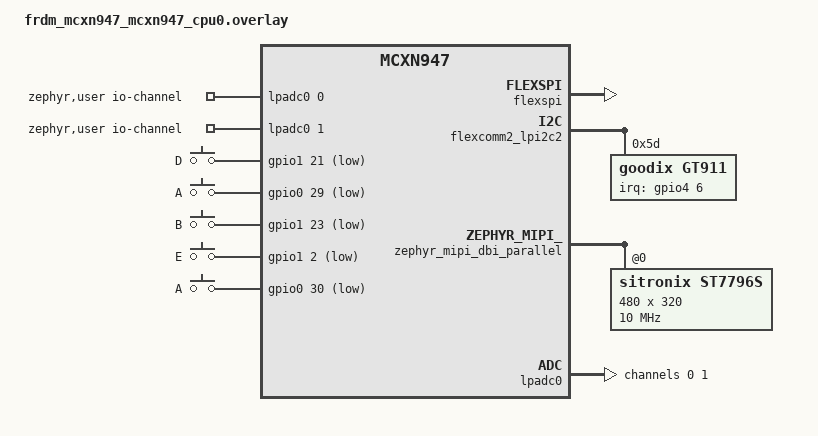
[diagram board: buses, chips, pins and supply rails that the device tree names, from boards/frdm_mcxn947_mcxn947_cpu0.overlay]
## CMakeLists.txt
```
# Copyright 2024 NXP
# SPDX-License-Identifier: Apache-2.0 OR GPL-2.0-or-later

cmake_minimum_required(VERSION 3.20.0)

find_package(Zephyr REQUIRED HINTS $ENV{ZEPHYR_BASE})
project(app LANGUAGES C)

set(PRBOOM_FILES
    prboom2/src/am_map.c
    prboom2/src/d_client.c
    prboom2/src/d_items.c
    prboom2/src/d_main.c
    prboom2/src/doom_iwad.c
    prboom2/src/f_finale.c
    prboom2/src/f_wipe.c
    prboom2/src/g_game.c
    prboom2/src/global_data.c
    prboom2/src/hu_lib.c
    prboom2/src/hu_stuff.c
    prboom2/src/i_audio.c
    prboom2/src/i_main.c
    prboom2/src/info.c
    prboom2/src/i_system.c
    prboom2/src/i_video.c
    prboom2/src/lprintf.c
    prboom2/src/m_bbox.c
    prboom2/src/m_cheat.c
    prboom2/src/m_menu.c
    prboom2/src/m_random.c
    prboom2/src/p_ceilng.c
    prboom2/src/p_doors.c
    prboom2/src/p_enemy.c
    prboom2/src/p_floor.c
    prboom2/src/p_genlin.c
    prboom2/src/p_inter.c
    prboom2/src/p_lights.c
    prboom2/src/p_map.c
    prboom2/src/p_maputl.c
    prboom2/src/p_mobj.c
    prboom2/src/p_plats.c
    prboom2/src/p_pspr.c
    prboom2/src/p_setup.c
    prboom2/src/p_sight.c
    prboom2/src/p_spec.c
    prboom2/src/p_switch.c
    prboom2/src/p_telept.c
    prboom2/src/p_tick.c
    prboom2/src/p_user.c
    prboom2/src/r_data.c
    prboom2/src/r_draw.c
    prboom2/src/r_hotpath.iwram.c
    prboom2/src/r_main.c
    prboom2/src/r_patch.c
    prboom2/src/r_plane.c
    prboom2/src/r_things.c
    prboom2/src/sounds.c
    prboom2/src/s_sound.c
    prboom2/src/st_gfx.c
    prboom2/src/st_lib.c
    prboom2/src/st_stuff.c
    prboom2/src/tables.c
    prboom2/src/version.c
    prboom2/src/v_video.c
    prboom2/src/wi_stuff.c
    prboom2/src/w_wad.c
    prboom2/src/z_bmalloc.c
    prboom2/src/z_zone.c
)

if(CONFIG_DOOM_FIXED_RECIPROCAL_LUT)
list(APPEND PRBOOM_FILES prboom2/src/m_recip.c)
endif()


if(CONFIG_DOOM_SPLASH)
  add_custom_command(
    OUTPUT ${CMAKE_BINARY_DIR}/splash.c
    COMMAND ${PYTHON_EXECUTABLE} ${CMAKE_SOURCE_DIR}/scripts/gen_splash.py
            --width 80 --height ${CONFIG_DOOM_Y_RES}
            --text "${CONFIG_DOOM_SPLASH_TEXT}"
            --out ${CMAKE_BINARY_DIR}/splash.c
    DEPENDS ${CMAKE_SOURCE_DIR}/scripts/gen_splash.py
    COMMENT "Generating splash.c"
  )
  target_sources(app PRIVATE ${CMAKE_BINARY_DIR}/splash.c)
endif()

target_include_directories(app PUBLIC prboom2/src)
target_include_directories(app PUBLIC src)
target_compile_options(app PRIVATE -Wno-error=incompatible-pointer-types)

target_sources(app PRIVATE ${PRBOOM_FILES} src/i_system_zephyr.c)

if(NOT CONFIG_NATIVE_BUILD)
  # The IWAD is not linked into the image: convert it to an Intel hex at the
  # memory mapped external flash address so the normal runner can flash it.
  dt_nodelabel(iwad_node NODELABEL w25q64jvssiq)
  dt_reg_addr(iwad_addr PATH ${iwad_node})
  add_custom_command(
    OUTPUT ${CMAKE_BINARY_DIR}/zephyr/doom1.hex
    COMMAND ${CMAKE_OBJCOPY} -I binary -O ihex --change-addresses ${iwad_addr}
            ${CMAKE_SOURCE_DIR}/wad/doom1.wad ${CMAKE_BINARY_DIR}/zephyr/doom1.hex
    DEPENDS ${CMAKE_SOURCE_DIR}/wad/doom1.wad
    COMMENT "Generating doom1.hex at ${iwad_addr}"
  )
  add_custom_target(doom1_hex ALL DEPENDS ${CMAKE_BINARY_DIR}/zephyr/doom1.hex)
endif()
```

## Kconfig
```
# Copyright 2024 NXP
# SPDX-License-Identifier: Apache-2.0 OR GPL-2.0-or-later

mainmenu "Doom"

menu "Zephyr"

source "Kconfig.zephyr"

endmenu

menu "Doom"

config DOOM_X_RES
	int "Doom X resolution"
	default 320

config DOOM_Y_RES
	int "Doom Y resolution"
	default 240

config DOOM_ZONE_HEAP_SIZE
    int "Heap size (kB)"
	default 256

config DOOM_FIXED_RECIPROCAL_LUT
	bool "Use LUT for FixedReciprocal"
	default y
	help
	  On microarchitectures without a hardware divider such as Cortex-m0
	  calculating the reciprocal is compute intensive. This method uses
	  a lookup table (256kB) to approximate it.

config DOOM_CALC_TAN_TABLE
	bool "Calculate finetangent at startup"
	default n
	help
	  Instead of storing the LUT in flash we calculate the tan table at startup
	  This saves a bit of flash at the cost of ram and startup time

config DOOM_CALC_SIN_TABLE
	bool "Calculate finesine at startup"
	default n
	help
	  Instead of storing the LUT in flash we calculate the sine table at startup
	  This saves a bit of flash at the cost of ram and startup time

config DOOM_CALC_YSLOPE
	bool "Calculate yslope at startup"
	default y
	help
	  Instead of storing the LUT in flash we calculate the sine table at startup
	  This saves a bit of flash at the cost of ram and startup time.
	  Yslope needs to be manually generated for each resolution.

config DOOM_CALC_DISTSCALE
	bool "Calculate distcale at startup"
	default y
	help
	  Instead of storing the LUT in flash we calculate the sine table at startup
	  This saves a bit of flash at the cost of ram and startup time.
	  Distcale needs to be manually generated for each resolution.

config DOOM_CALC_XTOVIEWANGLE
	bool "Calculate xtoviewangle at startup"
	default y
	help
	  Instead of storing the LUT in flash we calculate the sine table at startup
	  This saves a bit of flash at the cost of ram and startup time.
	  Xtoviewangle needs to be manually generated for each resolution.

config DOOM_CALC_VIEWANGLETOX
	bool "Calculate viewangletox at startup"
	default y
	help
	  Instead of storing the LUT in flash we calculate the sine table at startup
	  This saves a bit of flash at the cost of ram and startup time.
	  Viewangletox needs to be manually generated for each resolution.


config DOOM_NO_WIPE
	bool "Disable Screen wipe"
	default n
	help
	  Disables screen wipe effect saves on ram since we don't have to allocate the
	  frontbuffer anymore

config DOOM_PRINT_MEMSTAT
	bool "Print memory statistics to console"
	default n

choice DOOM_PIXEL_FORMAT
	prompt "Color pixel format"
	default DOOM_BGR565
	help
	  Specify the color pixel format for the DOOM output frame.

config DOOM_RGB888
	bool "RGB888"

config DOOM_RGB565
	bool "RGB565"

config DOOM_BGR565
	bool "BGR565"
endchoice

config DOOM_HIGHDETAIL
	bool "High detail mode"
	default n

config DOOM_FPS_AMMO
	bool "Use ammo counter as FPS counter"
	default n

config DOOM_ZEPHYR_BACKGROUND
	bool "Show Zephyr logo when hud extends 240 pixels"
	default n

config DOOM_SPLASH
	bool "Show a splash background at startup"
	default n
	help
	  Fills the display before the game starts with a starburst background
	  and the text from DOOM_SPLASH_TEXT.

config DOOM_SPLASH_TEXT
	string "Splash text"
	default "NXP"
	depends on DOOM_SPLASH

config DOOM_ZEPHYR_ADC_JOYSTICK
	bool "Use ADC for joystick input"
	select ADC
	default n

config DOOM_ZEPHYR_TOUCH_SCREEN
	bool "Use Touch screen for input"
	default n

if DOOM_ZEPHYR_TOUCH_SCREEN

# Touchscreen can use different coordinate systems
# Ideally this should be corrected in the touchscreen driver or input subsys

config DOOM_ZEPHYR_TOUCH_SCREEN_SWAP_XY
	bool "Touchscreen swap x/y coordinates"
	default n

config DOOM_ZEPHYR_TOUCH_SCREEN_INVERT_X
	bool "Touchscreen invert X coordinates"
	default n
endif
	  
config DOOM_FB_DTCM
	bool "Place Framebuffer in DTCM memory"
	depends on ARM


endmenu
```

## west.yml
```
# Copyright 2024 NXP
# SPDX-License-Identifier: Apache-2.0 OR GPL-2.0-or-later

manifest:

  group-filter:
    - +optional

  remotes:
    - name: zephyrproject-rtos
      url-base: https://github.com/zephyrproject-rtos

  projects:
    - name: zephyr
      remote: zephyrproject-rtos
      revision: 05aa0414f2b04b64f06da5ab38ed85fff6e8976a # zephyr v4.4++
      import:
        - name-allowlist:
          - hal_nxp
          - cmsis
          - cmsis_6
          - segger
```

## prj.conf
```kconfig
# Copyright 2024 NXP
# SPDX-License-Identifier: Apache-2.0 OR GPL-2.0-or-later

CONFIG_HEAP_MEM_POOL_SIZE=262144
CONFIG_DISPLAY=y
CONFIG_INPUT=y
CONFIG_GPIO=y
CONFIG_STDOUT_CONSOLE=y
CONFIG_SPEED_OPTIMIZATIONS=y
CONFIG_BUILD_OUTPUT_BIN=n
CONFIG_BUILD_NO_GAP_FILL=y
```

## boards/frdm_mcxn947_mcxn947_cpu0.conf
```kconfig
# Copyright 2024 NXP
# SPDX-License-Identifier: Apache-2.0 OR GPL-2.0-or-later

CONFIG_POSIX_API=y
CONFIG_PICOLIBC=y
CONFIG_COMMON_LIBC_MALLOC=y

CONFIG_HEAP_MEM_POOL_SIZE=1024
CONFIG_MAIN_STACK_SIZE=8192
CONFIG_DOOM_FIXED_RECIPROCAL_LUT=n
CONFIG_DOOM_ZONE_HEAP_SIZE=194
CONFIG_DOOM_NO_WIPE=y

CONFIG_DOOM_X_RES=400
CONFIG_DOOM_Y_RES=320
CONFIG_DEBUG_OPTIMIZATIONS=y
CONFIG_DOOM_BGR565=y

CONFIG_DOOM_ZEPHYR_ADC_JOYSTICK=y
CONFIG_DOOM_ZEPHYR_TOUCH_SCREEN=y
CONFIG_DOOM_ZEPHYR_BACKGROUND=y
CONFIG_DOOM_SPLASH=y

CONFIG_FLASH=y

CONFIG_DISPLAY=y

CONFIG_FPU=y

CONFIG_BUILD_OUTPUT_HEX=y
```

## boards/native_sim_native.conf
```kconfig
# Copyright 2024 NXP
# SPDX-License-Identifier: Apache-2.0 OR GPL-2.0-or-later

CONFIG_DOOM_X_RES=640
CONFIG_DOOM_Y_RES=360
CONFIG_DOOM_ZONE_HEAP_SIZE=4096
# CONFIG_DOOM_FIXED_RECIPROCAL_LUT is not set
CONFIG_DOOM_CALC_TAN_TABLE=y
CONFIG_DOOM_CALC_SIN_TABLE=y
# CONFIG_DOOM_NO_WIPE is not set
CONFIG_LOG=y
CONFIG_DOOM_PRINT_MEMSTAT=y
# CONFIG_DOOM_RGB888 is not set
CONFIG_DOOM_RGB565=y
# CONFIG_DOOM_BGR565 is not set
# CONFIG_DOOM_HIGHDETAIL is not set
# CONFIG_DOOM_FPS_AMMO is not set
CONFIG_DOOM_ZEPHYR_BACKGROUND=y
# CONFIG_DOOM_ZEPHYR_ADC_JOYSTICK is not set
CONFIG_DOOM_ZEPHYR_TOUCH_SCREEN=y
CONFIG_DOOM_ZEPHYR_TOUCH_SCREEN_SWAP_XY=y
CONFIG_DOOM_ZEPHYR_TOUCH_SCREEN_INVERT_X=y
CONFIG_SDL_DISPLAY_USE_HARDWARE_ACCELERATOR=n
CONFIG_SDL_DISPLAY_ZOOM_PCT=200
CONFIG_DEBUG_OPTIMIZATIONS=y
```

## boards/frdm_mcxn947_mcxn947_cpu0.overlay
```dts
/*
 * Copyright 2024 NXP
 *
 * SPDX-License-Identifier: Apache-2.0 OR GPL-2.0-or-later
 */
 
#include <nxp/mcx/MCXN947VDF-pinctrl.h>
#include <dt-bindings/gpio/gpio.h>
#include <zephyr/dt-bindings/input/input-event-codes.h>
#include <zephyr/dt-bindings/adc/adc.h>
#include <zephyr/dt-bindings/adc/mcux-lpadc.h>
#include <zephyr/dt-bindings/mipi_dbi/mipi_dbi.h>

/ {

	chosen {
		zephyr,display = &st7796s;
	};

	aliases {
		enter = &key_space;
		map = &key_map;
		menu = &key_menu;
		fire = &key_fire;
		toggle = &key_toggle;
		touch-screen = &gt911;
	};
	
	zephyr,user {
		/* adjust channel number according to pinmux in board.dts */
		io-channels = <&lpadc0 0>, <&lpadc0 1>;
	};
	/* gpio0 28 is joystick click */



	adc_joystick: analog_axis {
		compatible = "analog-axis";
        poll-period-ms = <15>;
		axis-x {
			io-channels = <&lpadc0 0>;
			in-deadzone = <256>;
			in-min = <0>;
			in-max = <4096>;
			out-min = <(-1)>;
			out-max = <1>;
			zephyr,axis = <INPUT_ABS_X>;
		};
		axis-y {
			io-channels = <&lpadc0 1>;
			in-deadzone = <256>;
			in-min = <0>;
			in-max = <4096>;
			out-min = <(-1)>;
			out-max = <1>;
			zephyr,axis = <INPUT_ABS_Y>;
		};
	};

	gpio_keys {
		compatible = "gpio-keys";

		key_fire: key_fire {
			label = "D";
			gpios = <&gpio1 21 (GPIO_PULL_UP | GPIO_ACTIVE_LOW)>; /* PTE0 */
			zephyr,code = <INPUT_KEY_TAB>;
		};
		
		key_menu: key_menu {
			label = "A";
			gpios = <&gpio0 29 (GPIO_PULL_UP | GPIO_ACTIVE_LOW)>; /* p0_29 */
			zephyr,code = <INPUT_KEY_TAB>;
		};

		
		key_toggle: key_toggle {
			label = "B";
			gpios = <&gpio1 23 (GPIO_PULL_UP | GPIO_ACTIVE_LOW)>; /* PTE22 */
			zephyr,code = <INPUT_KEY_LEFTALT>;
		};
		
		key_map: key_map {
			label = "E";
			gpios = <&gpio1 2 (GPIO_PULL_UP | GPIO_ACTIVE_LOW)>; /* 1_2 */
			zephyr,code = <INPUT_KEY_LEFTALT>;
		};
		
		key_space: key_space {
			label = "A";
			gpios = <&gpio0 30 (GPIO_PULL_UP | GPIO_ACTIVE_LOW)>; /* 1_21 -> C funduino */
			zephyr,code = <INPUT_KEY_SPACE>;
		};
	};

};

&flexspi {
	status = "okay";
};

&flexcomm2_lpi2c2 {
	status = "okay";
	gt911: gt911@5d {
		compatible = "goodix,gt911";
		reg = <0x5d>;
		alt-addr = <0x14>;
		irq-gpios = <&gpio4 6 GPIO_ACTIVE_HIGH>;
	};
};

&zephyr_mipi_dbi_parallel {
	status = "okay";
	#address-cells = <1>;
	#size-cells = <0>;
	st7796s: st7796s@0 {
		compatible = "sitronix,st7796s";
		reg = <0>;
		/* Baud rate on each pin is 1MHz */
		mipi-max-frequency = <10000000>;
		mipi-mode = "MIPI_DBI_MODE_8080_BUS_16_BIT";
		height = <320>;
		width = <480>;
		invert-mode = "1-dot";
		frmctl1 = [80 10];
		bpc = [1f 50 00 20];
		dfc = [8a 07 3b];
		pwr1 = [80 64];
		pwr2 = <0x13>;
		pwr3 = <0xa7>;
		vcmpctl = <0x09>;
		doca = [40 8a 00 00 29 19 a5 33];
		pgc = [f0 06 0b 07 06 05 2e 33 47 3a 17 16 2e 31];
		ngc = [f0 09 0d 09 08 23 2e 33 46 38 13 13 2c 32];
		madctl = <0x28>;
		color-invert;
	};
};

&sram0 {
 	compatible = "mmio-sram";
	reg = <0x20000000 DT_SIZE_K(416)>;
};


&lpadc0 {
	#address-cells = <1>;
	#size-cells = <0>;

	voltage-ref= <2>;

	/*
	 * - Connect LPADC0 CH1A signal to voltage between 0~3.3V (J8 pin 14)
	 * - Connect LPADC0 CH1B signal to voltage between 0~3.3V (J8 pin 24)
	 */

	channel@0 {
		reg = <0>;
		zephyr,gain = "ADC_GAIN_1";
		zephyr,reference = "ADC_REF_EXTERNAL0";
		zephyr,vref-mv = <3300>;
		zephyr,acquisition-time = <ADC_ACQ_TIME_DEFAULT>;
		zephyr,resolution = <12>;
		zephyr,input-positive = <MCUX_LPADC_CH0A>;
	};

	channel@1 {
		reg = <1>;
		zephyr,gain = "ADC_GAIN_1";
		zephyr,reference = "ADC_REF_EXTERNAL0";
		zephyr,vref-mv = <3300>;
		zephyr,acquisition-time = <ADC_ACQ_TIME_DEFAULT>;
		zephyr,resolution = <12>;
		zephyr,input-positive = <MCUX_LPADC_CH0B>;
	};
};
```

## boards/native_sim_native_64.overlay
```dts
/*
 * Copyright 2024 NXP
 *
 * SPDX-License-Identifier: Apache-2.0 OR GPL-2.0-or-later
 */

 #include <zephyr/dt-bindings/input/input-event-codes.h>

 / {
	aliases {
		right = &key_right;
		left = &key_left;
		down = &key_down;
		up = &key_up;
		fire = &key_ctrl;
		enter = &key_space;
		strafe = &key_alt;
		run = &key_shift;
		menu = &key_esc;
		weapontoggle = &key_tab;
		touch-screen = &input_sdl_touch;
	};

  gpio_keys {
	compatible = "gpio-keys";
	key_right: key_right {
	  gpios = <&gpio0 0 GPIO_ACTIVE_HIGH>;
	  zephyr,code = <INPUT_KEY_RIGHT>;
	};
	key_left: key_left {
	  gpios = <&gpio0 1 GPIO_ACTIVE_HIGH>;
	  zephyr,code = <INPUT_KEY_LEFT>;
	};
	key_down: key_down {
	  gpios = <&gpio0 2 GPIO_ACTIVE_HIGH>;
	  zephyr,code = <INPUT_KEY_DOWN>;
	};
	key_up: key_up {
	  gpios = <&gpio0 3 GPIO_ACTIVE_HIGH>;
	  zephyr,code = <INPUT_KEY_UP>;
	};
	key_ctrl: key_ctrl {
	  gpios = <&gpio0 4 GPIO_ACTIVE_HIGH>;
	  zephyr,code = <INPUT_KEY_LEFTCTRL>;
	};
	key_space: key_space {
	  gpios = <&gpio0 5 GPIO_ACTIVE_HIGH>;
	  zephyr,code = <INPUT_KEY_SPACE>;
	};
	key_alt: key_alt {
	  gpios = <&gpio0 6 GPIO_ACTIVE_HIGH>;
	  zephyr,code = <INPUT_KEY_LEFTALT>;
	};
	key_shift: key_shift {
	  gpios = <&gpio0 7 GPIO_ACTIVE_HIGH>;
	  zephyr,code = <INPUT_KEY_LEFTSHIFT>;
	};
	key_esc: key_esc {
	  gpios = <&gpio0 8 GPIO_ACTIVE_HIGH>;
	  zephyr,code = <INPUT_KEY_ESC>;
	};
	key_tab: key_tab {
	  gpios = <&gpio0 9 GPIO_ACTIVE_HIGH>;
	  zephyr,code = <INPUT_KEY_TAB>;
	};
  };
  
  };

/* gpio0 has to be a zephyr,gpio-emul device */
&gpio0 {
	ngpios = <10>;

	sdl_gpio {
		compatible = "zephyr,gpio-emul-sdl";
		scancodes = <79 80 81 82 224 44 226 225 41 43>;
	};
};

&sdl_dc {
	width = <640>;
	height = <360>;
};
```

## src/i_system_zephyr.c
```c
/* Emacs style mode select   -*- C++ -*-
 *-----------------------------------------------------------------------------
 *
 *  Copyright 2024 NXP
 *
 *  SPDX-License-Identifier: Apache-2.0 OR GPL-2.0-or-later
 *
 *-----------------------------------------------------------------------------
 */

#include <math.h>
#include <stdarg.h>
#include <stdio.h>
#include <string.h>

#ifndef M_PI
#define M_PI 3.14159265358979323846
#endif

#include "d_event.h"
#include "d_main.h"
#include "g_game.h"
#include "i_system_zephyr.h"
#include "doom_iwad.h"

#include "doomdef.h"
#include "lprintf.h"

#include <zephyr/logging/log.h>
LOG_MODULE_REGISTER(sample, LOG_LEVEL_INF);
#include <zephyr/device.h>
#include <zephyr/devicetree.h>
#include <zephyr/drivers/adc.h>
#include <zephyr/drivers/display.h>
#include <zephyr/drivers/gpio.h>
#include <zephyr/input/input.h>
#include <zephyr/kernel.h>

#ifdef CONFIG_DOOM_SPLASH
extern const unsigned short doom_splash[];
extern const unsigned int doom_splash_width, doom_splash_height;
#endif

#define RIGHT_NODE DT_ALIAS(right)
#define LEFT_NODE DT_ALIAS(left)
#define DOWN_NODE DT_ALIAS(down)
#define UP_NODE DT_ALIAS(up)
#define FIRE_NODE DT_ALIAS(fire)
#define ENTER_NODE DT_ALIAS(enter)
#define MENU_NODE DT_ALIAS(menu)
#define WEAPONTOGGLE_NODE DT_ALIAS(weapontoggle)
#define STRAFE_NODE DT_ALIAS(strafe)
#define RUN_NODE DT_ALIAS(run)
#define MAP_NODE DT_ALIAS(map)
#define TOGGLE_NODE DT_ALIAS(toggle)

#define DISPLAY_NODE DT_CHOSEN(zephyr_display)

#define STACKSIZE 2000
struct k_thread display_thread;
K_THREAD_STACK_DEFINE(display_stack, STACKSIZE);
struct display_capabilities d_capabilities;
struct k_sem sem_display;
struct k_sem sem_renderer;

//**************************************************************************************

struct key_mapping {
  struct gpio_dt_spec node;
  const int *key;
  evtype_t eventstate;
};

struct key_mapping keymap[] = {
#ifndef CONFIG_DOOM_ZEPHYR_ADC_JOYSTICK
    {GPIO_DT_SPEC_GET_OR(UP_NODE, gpios, {0}), &key_up, ev_keyup},
    {GPIO_DT_SPEC_GET_OR(DOWN_NODE, gpios, {0}), &key_down, ev_keyup},
    {GPIO_DT_SPEC_GET_OR(LEFT_NODE, gpios, {0}), &key_left, ev_keyup},
    {GPIO_DT_SPEC_GET_OR(RIGHT_NODE, gpios, {0}), &key_right, ev_keyup},
#endif
    {GPIO_DT_SPEC_GET_OR(FIRE_NODE, gpios, {0}), &key_fire, ev_keyup},
    {GPIO_DT_SPEC_GET_OR(ENTER_NODE, gpios, {0}), &key_enter, ev_keyup},
    {GPIO_DT_SPEC_GET_OR(ENTER_NODE, gpios, {0}), &key_use, ev_keyup},
    {GPIO_DT_SPEC_GET_OR(MENU_NODE, gpios, {0}), &key_escape, ev_keyup},
    {GPIO_DT_SPEC_GET_OR(RUN_NODE, gpios, {0}), &key_speed, ev_keyup},
    {GPIO_DT_SPEC_GET_OR(MAP_NODE, gpios, {0}), &key_map, ev_keyup},
    {GPIO_DT_SPEC_GET_OR(TOGGLE_NODE, gpios, {0}), &key_toggle, ev_keyup},
};

#define KEYMAP_SIZE (sizeof(keymap) / sizeof(keymap[0]))

#ifdef CONFIG_DOOM_ZEPHYR_ADC_JOYSTICK
static const struct device *const adc_joy_dev =
    DEVICE_DT_GET(DT_NODELABEL(adc_joystick));
#endif
#ifdef CONFIG_DOOM_ZEPHYR_TOUCH_SCREEN
static const struct device *const touch_screen_dev =
    DEVICE_DT_GET(DT_ALIAS(touch_screen));
#endif

bool x_l_pressed = false;
bool x_r_pressed = false;
bool x_center = false;

bool y_u_pressed = false;
bool y_d_pressed = false;
bool y_center = false;
bool action_pressed = false;
bool action_fire = false;

// TOD IFDEF TOUCH
uint16_t touch_initial_x = 0;
uint16_t touch_initial_y = 0;

uint16_t touch_x = 0;
uint16_t touch_y = 0;
bool touch_btn = false;
bool touch_released = true;

unsigned int vid_width = 0;
unsigned int vid_height = 0;

FAST_DATA_RAM unsigned short
    backbuffer[(SCREENWIDTH * SCREENHEIGHT) + CONFIG_DOOM_X_RES];

#ifndef CONFIG_DOOM_NO_WIPE
FAST_DATA_RAM unsigned short frontbuffer[SCREENWIDTH * SCREENHEIGHT];
#endif

#if defined(CONFIG_DOOM_RGB565) || defined(CONFIG_DOOM_BGR565)
static uint16_t pl_565[256];
const byte *pl_game = (byte *)pl_565;
#else
const byte *pl_game;
#endif

const struct device *display_dev;

//**************************************************************************************

void I_uSleep(unsigned long usecs) { k_sleep(K_USEC(usecs)); }

//**************************************************************************************

void Z_DisplayThreadEntry(void) {
  struct display_buffer_descriptor buf_desc;

  buf_desc.buf_size = CONFIG_DOOM_X_RES * CONFIG_DOOM_Y_RES * 2;
  buf_desc.pitch = CONFIG_DOOM_X_RES;
  buf_desc.width = CONFIG_DOOM_X_RES;
  buf_desc.height = 1;

  int i, j;

  uint16_t *framebuffer = (uint16_t *)&backbuffer[0];
  unsigned char *frame;

  while (1) {
    k_sem_take(&sem_renderer, K_FOREVER);
    frame = (char *)I_GetBackBuffer();
    int lineheight;
    int y_offset = 0;

    /* Re-use Backbuffer while converting indexed color (8-bit) to 565 (16-bit)
     */
    for (i = 1; y_offset < CONFIG_DOOM_Y_RES; i++) {
      lineheight = i + (1 << (i - 1));

      if (lineheight + y_offset >= CONFIG_DOOM_Y_RES) {
        lineheight = CONFIG_DOOM_Y_RES - y_offset;
      }

      for (j = 0; j < CONFIG_DOOM_X_RES * lineheight; j++) {
        framebuffer[j] = pl_565[frame[j]];
      }

      frame += CONFIG_DOOM_X_RES * lineheight;
      buf_desc.height = lineheight;
      buf_desc.buf_size = CONFIG_DOOM_X_RES * lineheight * 2;

      display_write(display_dev, 0, y_offset, &buf_desc, framebuffer);

      y_offset += lineheight;
    }
    k_sem_give(&sem_display);
  }
}

//**************************************************************************************

void I_InitScreen_zephyr() {
  printf("I_CreateWindow_e32\n");

  display_dev = DEVICE_DT_GET(DT_CHOSEN(zephyr_display));
  if (!device_is_ready(display_dev)) {
    LOG_ERR("Device %s not found. Aborting sample.", display_dev->name);
    return;
  }

  LOG_INF("Display sample for %s", display_dev->name);
  display_get_capabilities(display_dev, &d_capabilities);
  LOG_INF("Display %ix%i", d_capabilities.x_resolution,
          d_capabilities.y_resolution);

#ifdef CONFIG_DOOM_RGB888
  display_set_pixel_format(display_dev, PIXEL_FORMAT_RGB_888); // TODO
#elif defined(CONFIG_DOOM_RGB565)
  display_set_pixel_format(display_dev, PIXEL_FORMAT_RGB_565);
#elif defined(CONFIG_DOOM_BGR565)
  /* Zephyr 4.4 renamed PIXEL_FORMAT_BGR_565 to PIXEL_FORMAT_RGB_565X */
  display_set_pixel_format(display_dev, PIXEL_FORMAT_RGB_565X);
#endif
  display_blanking_off(display_dev);

#ifdef CONFIG_DOOM_SPLASH
  struct display_buffer_descriptor buf_desc;

  buf_desc.buf_size = doom_splash_width * doom_splash_height * 2;
  buf_desc.pitch = doom_splash_width;
  buf_desc.width = doom_splash_width;
  buf_desc.height = doom_splash_height;
  for (unsigned int i = 0; i < d_capabilities.x_resolution / doom_splash_width;
       i++) {
    display_write(display_dev, doom_splash_width * i, 0, &buf_desc,
                  doom_splash);
  }

#endif

  k_sem_init(&sem_display, 0, K_SEM_MAX_LIMIT);
  k_sem_init(&sem_renderer, 0, K_SEM_MAX_LIMIT);

  /* Start display thread*/
  k_thread_create(&display_thread, display_stack, STACKSIZE,
                  (k_thread_entry_t)Z_DisplayThreadEntry, NULL, NULL, NULL,
                  K_PRIO_COOP(7), 0, K_NO_WAIT);

  vid_width = SCREENWIDTH;
  vid_height = SCREENHEIGHT;

  for (int i = 0; i < KEYMAP_SIZE; i++) {
    if (keymap[i].node.port == 0) {
      printk("Error: key %ls is not configured\n", keymap[i].key);
    } else {
      gpio_pin_configure_dt(&keymap[i].node, GPIO_INPUT);
    }
  }
}

//**************************************************************************************

void I_BlitScreenBmp_e32() {}

//**************************************************************************************

void I_StartWServEvents_e32() {}

//**************************************************************************************

#define ADC_CENTER 2000
#define ADC_THRESH 600
#define ADC_RELEASE_TRESH 400

void I_PollWServEvents_e32() {
  event_t event = {0};

  if (x_center) {
    event.type = ev_keyup;
    event.data1 = key_left;
    D_PostEvent(&event);
    event.type = ev_keyup;
    event.data1 = key_right;
    D_PostEvent(&event);
  } else if (x_l_pressed) {
    event.type = ev_keydown;
    event.data1 = key_left;
    D_PostEvent(&event);
  } else if (x_r_pressed) {
    event.type = ev_keydown;
    event.data1 = key_right;
    D_PostEvent(&event);
  }

  x_l_pressed = false;
  x_r_pressed = false;
  x_center = false;

  if (y_center) {
    event.type = ev_keyup;
    event.data1 = key_up;
    D_PostEvent(&event);
    event.type = ev_keyup;
    event.data1 = key_down;
    D_PostEvent(&event);
  } else if (y_u_pressed) {
    event.type = ev_keydown;
    event.data1 = key_up;
    D_PostEvent(&event);
  } else if (y_d_pressed) {
    event.type = ev_keydown;
    event.data1 = key_down;
    D_PostEvent(&event);
  }

  y_u_pressed = false;
  y_d_pressed = false;
  y_center = false;

  if (action_pressed && action_fire) {
    event.type = ev_keydown;
    event.data1 = key_fire;
    D_PostEvent(&event);
    action_pressed = false;
  } else if (action_pressed && !action_fire) {
    event.type = ev_keydown;
    event.data1 = key_enter;
    D_PostEvent(&event);
    action_pressed = false;
  } else {
    event.type = ev_keyup;
    event.data1 = key_fire;
    D_PostEvent(&event);
    event.type = ev_keyup;
    event.data1 = key_enter;
    D_PostEvent(&event);
  }

  for (int i = 0; i < KEYMAP_SIZE; i++) {
    if (keymap[i].node.port != 0) {
      if (gpio_pin_get_dt(&keymap[i].node) > 0 &&
          keymap[i].eventstate == ev_keyup) {
        keymap[i].eventstate = ev_keydown;
        event.type = ev_keydown;
        event.data1 = *keymap[i].key;
        D_PostEvent(&event);
      } else if (gpio_pin_get_dt(&keymap[i].node) == 0 &&
                 keymap[i].eventstate == ev_keydown) {
        keymap[i].eventstate = ev_keyup;
        event.type = ev_keyup;
        event.data1 = *keymap[i].key;
        D_PostEvent(&event);
      }
    }
  }
}

#ifdef CONFIG_DOOM_ZEPHYR_ADC_JOYSTICK
static void input_adc_joy_cb(struct input_event *evt, void *user_data) {

  if (evt->type == INPUT_EV_ABS && evt->code == INPUT_ABS_X) {
    if (evt->value == -1) {
      x_l_pressed = true;
    } else if (evt->value == 0) {
      x_center = true;
    } else if (evt->value == 1) {
      x_r_pressed = true;
    }
  }

  if (evt->type == INPUT_EV_ABS && evt->code == INPUT_ABS_Y) {
    if (evt->value == -1) {
      y_d_pressed = true;
    } else if (evt->value == 0) {
      y_center = true;
    } else if (evt->value == 1) {
      y_u_pressed = true;
    }
  }
}

INPUT_CALLBACK_DEFINE(adc_joy_dev, input_adc_joy_cb, NULL);
#endif

#ifdef CONFIG_DOOM_ZEPHYR_TOUCH_SCREEN
static void input_touch_cb(struct input_event *evt, void *user_data) {

#ifdef CONFIG_DOOM_ZEPHYR_TOUCH_SCREEN_SWAP_XY
  if (evt->type == INPUT_EV_ABS && evt->code == INPUT_ABS_X) {
    touch_y = evt->value;
  }

#ifdef CONFIG_DOOM_ZEPHYR_TOUCH_SCREEN_INVERT_X
  if (evt->type == INPUT_EV_ABS && evt->code == INPUT_ABS_Y) {
    touch_x = d_capabilities.x_resolution - evt->value;
  }
#else
  if (evt->type == INPUT_EV_ABS && evt->code == INPUT_ABS_Y) {
    touch_x = evt->value;
  }
#endif
#else
  if (evt->type == INPUT_EV_ABS && evt->code == INPUT_ABS_X) {
    touch_x = evt->value;
  }

  if (evt->type == INPUT_EV_ABS && evt->code == INPUT_ABS_Y) {
    touch_y = evt->value;
  }
#endif
  if (evt->type == INPUT_EV_KEY && evt->code == INPUT_BTN_TOUCH) {
    touch_btn = evt->value;
  }

  if (evt->sync) {

    if (!touch_btn) {
      touch_released = true;

      x_center = true;
      y_center = true;
      // STOP MOVING
    } else if (touch_y >= CONFIG_DOOM_X_RES) {
      x_center = true;
      y_center = true;

      if (touch_btn && touch_released) {
        action_pressed = true;
        action_fire = touch_x < (CONFIG_DOOM_Y_RES / 2);
      }
    } else if (touch_btn && touch_released) {
      touch_initial_x = touch_x;
      touch_initial_y = touch_y;
      touch_released = false;
      x_center = true;
      y_center = true;
    } else {

      if (touch_btn) {
        // CALC distance
        double distance = sqrt(pow(touch_x - touch_initial_x, 2) +
                               pow(touch_y - touch_initial_y, 2));

        double angle =
            atan2(touch_initial_y - touch_y, touch_initial_x - touch_x);

        angle = (angle) * (180.0 / M_PI);
        if (distance > 20) {

          if ((angle >= -22.5 && angle <= 22.5)) {
            // Down
            x_center = true;
            y_u_pressed = false;
            y_d_pressed = true;
          } else if (angle > 22.5 && angle <= 67.5) {
            // Left-down
            x_l_pressed = true;
            x_r_pressed = false;
            y_u_pressed = false;
            y_d_pressed = true;
          } else if (angle > 67.5 && angle <= 112.5) {
            // Left
            x_l_pressed = true;
            x_r_pressed = false;
            y_center = true;
          } else if (angle > 112.5 && angle <= 157.5) {
            // Left-Up
            x_l_pressed = true;
            x_r_pressed = false;
            y_u_pressed = true;
            y_d_pressed = false;
          } else if ((angle > 157.5 && angle <= 180) ||
                     (angle >= -180 && angle <= -157.5)) {
            // Up
            x_center = true;
            y_u_pressed = true;
            y_d_pressed = false;
          } else if (angle > -157.5 && angle <= -112.5) {
            // Right-up
            x_l_pressed = false;
            x_r_pressed = true;
            y_u_pressed = true;
            y_d_pressed = false;
          } else if (angle > -112.5 && angle <= -67.5) {
            // Right
            x_l_pressed = false;
            x_r_pressed = true;
            y_center = true;
          } else if (angle > -67.5 && angle <= -22.5) {
            // Right-down
            x_l_pressed = false;
            x_r_pressed = true;
            y_u_pressed = false;
            y_d_pressed = true;
          } else {
            x_center = true;
            y_center = true;
          }

        } else {

          x_center = true;
          y_center = true;
        }
      }
    }
  }
}

INPUT_CALLBACK_DEFINE(touch_screen_dev, input_touch_cb, NULL);
#endif

//**************************************************************************************

void I_ClearWindow_e32() {}

unsigned short *I_GetBackBuffer() {
  return &backbuffer[CONFIG_DOOM_X_RES]; // Offset by SCREENWIDTH for color
                                         // conversion space
}

unsigned short *I_GetFrontBuffer() {
#ifndef CONFIG_DOOM_NO_WIPE
  return &frontbuffer[0];
#else
  return NULL;
#endif
}

//**************************************************************************************

void I_CreateWindow_e32() {
  // display_blanking_off(display_dev);
}

//**************************************************************************************

void I_CreateBackBuffer_zephyr() { I_CreateWindow_e32(); }

//**************************************************************************************

void I_FinishUpdate_zephyr(const byte *srcBuffer, const byte *pallete,
                        const unsigned int width, const unsigned int height) {

  k_sem_give(&sem_renderer);

  /* Wait for coop thread to let us have a turn */
  k_sem_take(&sem_display, K_FOREVER);
}

//**************************************************************************************

void I_SetPallete_zephyr(const byte *pallete) {
#if defined(CONFIG_DOOM_RGB565) || defined(CONFIG_DOOM_BGR565)
  /* Both PIXEL_FORMAT_RGB_565 and RGB_565X take the value in memory byte order. */
  for (int i = 0; i < 256; i++) {
    int r = *pallete++;
    int g = *pallete++;
    int b = *pallete++;
    int nr = r >> 3, ng = g >> 2, nb = b >> 3;
    pl_565[i] = (uint16_t)((nr << 11) | (ng << 5) | nb);
  }
#else
  pl_game = pallete;
#endif
}

//**************************************************************************************

int I_GetVideoWidth_zephyr() { return vid_width; }

//**************************************************************************************

int I_GetVideoHeight_zephyr() { return vid_height; }

//**************************************************************************************

void I_ProcessKeyEvents() { I_PollWServEvents_e32(); }

//**************************************************************************************

#define MAX_MESSAGE_SIZE 512

void I_Error(const char *error, ...) {
  char msg[MAX_MESSAGE_SIZE];

  va_list v;
  va_start(v, error);

  vsprintf(msg, error, v);

  va_end(v);

  printf("%s\n", msg);

  fflush(stderr);
  fflush(stdout);

  I_Quit_zephyr();
}

//**************************************************************************************

/* I_Error is fatal in prBoom: stop here instead of running on with broken state. */
void I_Quit_zephyr() { k_fatal_halt(K_ERR_KERNEL_PANIC); }

//**************************************************************************************

/* The IWAD is not linked into the image, it is a separate binary. On the board it is
 * flashed to the external QSPI flash and read in place through its memory mapped
 * window; on native_sim it is read from a host file selected with --wad.
 */

#ifdef CONFIG_NATIVE_BUILD

#include <cmdline.h>
#include <nsi_host_trampolines.h>
#include <posix_native_task.h>

#define IWAD_O_RDONLY 0
#define IWAD_CHUNK (1UL << 20)

#define IWAD_SOURCE iwad_path
#define IWAD_SOURCE_FMT "file '%s'"

/* The command line parser resets string options to NULL, so the default is
 * applied when the IWAD is actually opened rather than as an initialiser.
 */
#define IWAD_DEFAULT_PATH "wad/doom1.wad"
static const char *iwad_path;

static void I_IwadOptions_zephyr(void) {
  static struct args_struct_t iwad_opts[] = {
      {
          .option = "wad",
          .name = "path",
          .type = 's',
          .dest = (void *)&iwad_path,
          .descript = "Path of the Doom IWAD file to load",
      },
      ARG_TABLE_ENDMARKER,
  };

  native_add_command_line_opts(iwad_opts);
}

NATIVE_TASK(I_IwadOptions_zephyr, PRE_BOOT_1, 10);

/* No stat() trampoline is exposed, so grow the buffer while reading to EOF. */
static void I_ReadIwad_zephyr(void) {
  if (iwad_path == NULL) {
    iwad_path = IWAD_DEFAULT_PATH;
  }

  int fd = nsi_host_open(iwad_path, IWAD_O_RDONLY);

  if (fd < 0) {
    return;
  }

  unsigned long cap = IWAD_CHUNK, len = 0;
  unsigned char *buf = nsi_host_malloc(cap);

  while (buf != NULL) {
    long n = nsi_host_read(fd, buf + len, cap - len);

    if (n <= 0) {
      break;
    }

    len += n;

    if (len == cap) {
      cap *= 2;
      buf = nsi_host_realloc(buf, cap);
    }
  }

  nsi_host_close(fd);

  doom_iwad = buf;
  doom_iwad_len = (buf != NULL) ? len : 0;
}

#else

#define IWAD_NODE DT_NODELABEL(w25q64jvssiq)

#define IWAD_SOURCE (unsigned long)DT_REG_ADDR(IWAD_NODE)
#define IWAD_SOURCE_FMT "external flash address 0x%08lx"

#endif

void I_InitIwad_zephyr(void) {
#ifdef CONFIG_NATIVE_BUILD
  I_ReadIwad_zephyr();
#else
  doom_iwad = (const unsigned char *)DT_REG_ADDR(IWAD_NODE);
  doom_iwad_len = DT_REG_SIZE(IWAD_NODE);
#endif

  if (doom_iwad == NULL || doom_iwad_len < 4 ||
      memcmp(doom_iwad, "IWAD", 4) != 0) {
    printk("No IWAD found at " IWAD_SOURCE_FMT ", flash or pass wad/doom1.wad\n",
           IWAD_SOURCE);
    I_Error("I_InitIwad_zephyr: no IWAD at " IWAD_SOURCE_FMT, IWAD_SOURCE);
  }
}
```

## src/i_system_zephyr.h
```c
/* Emacs style mode select   -*- C++ -*-
 *-----------------------------------------------------------------------------
 *
 *  Copyright 2024 NXP
 *
 *  SPDX-License-Identifier: Apache-2.0 OR GPL-2.0-or-later
 *
 *-----------------------------------------------------------------------------
 */

#ifndef HEADER_I_SYSTEM_ZEPHYR
#define HEADER_I_SYSTEM_ZEPHYR

#ifdef __cplusplus
extern "C" {
#endif

typedef unsigned char byte;

void I_InitScreen_zephyr();

void I_CreateBackBuffer_zephyr();

int I_GetVideoWidth_zephyr();

int I_GetVideoHeight_zephyr();

void I_FinishUpdate_zephyr(const byte* srcBuffer, const byte* pallete, const unsigned int width, const unsigned int height);

void I_SetPallete_zephyr(const byte* pallete);

void I_ProcessKeyEvents();

void I_InitIwad_zephyr(void);

void I_Error (const char *error, ...);

void I_Quit_zephyr();

unsigned short* I_GetBackBuffer();

unsigned short* I_GetFrontBuffer();

#ifdef __cplusplus
}
#endif


#endif
```
